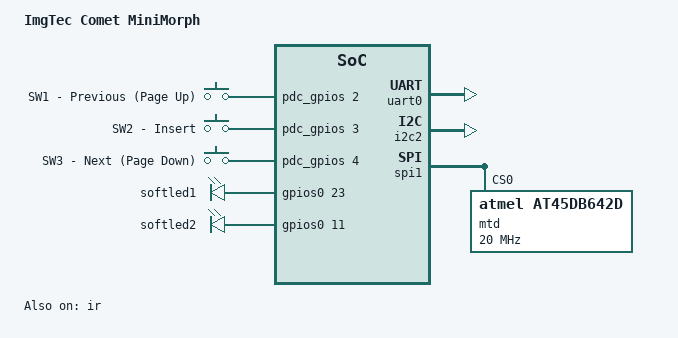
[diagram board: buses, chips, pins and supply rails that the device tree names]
/*
 * Copyright (C) 2012 Imagination Technologies Ltd.
 *
 * This program is free software; you can redistribute it and/or modify
 * it under the terms of the GNU General Public License version 2 as
 * published by the Free Software Foundation.
 */
/dts-v1/;

/include/ "tz1090.dtsi"

&xtal2 {
	clock-frequency = <12000000>;
};

&xtal3 {
	clock-frequency = <32768>;
};

&pinctrl {
	pinctrl-names = "default";
	pinctrl-0 = <	&pinctrl_spi1_cs0
			&pinctrl_tft
			&pinctrl_sdh>;
};

&pdc_pinctrl {
	pinctrl-names = "default";
	pinctrl-0 = <	&keys_pulldown>;

	keys_pulldown: keys-pulldown {
		keys {
			pins =	"sys_wake0",
				"sys_wake1",
				"sys_wake2";
			pull-down;
		};
	};
};

&uart0 {
	status = "okay";
};

&ir {
	status = "okay";
};

&i2c2 {
	bit-rate = <100000>;	/* limit for HDMI */
	status = "okay";
};

/ {
	model = "ImgTec Comet MiniMorph";
	compatible =	"img,tz1090-01tt", "img,tz1090-01sp",
			"toumaz,tz1090", "img,meta";

	gpio_keys {
		compatible = "gpio-keys";
		#address-cells = <1>;
		#size-cells = <0>;
		button@0 {
			label = "SW1 - Previous (Page Up)";
			gpios = <&pdc_gpios 2 0>; /* syswake0 */
			gpio-key,wakeup;
			linux,code = <104>; /* Page Up */
		};
		button@1 {
			label = "SW2 - Insert";
			gpios = <&pdc_gpios 3 0>; /* syswake1 */
			gpio-key,wakeup;
			linux,code = <110>; /* Insert */
		};
		button@2 {
			label = "SW3 - Next (Page Down)";
			gpios = <&pdc_gpios 4 0>; /* syswake2 */
			gpio-key,wakeup;
			linux,code = <109>; /* Page Down */
		};
	};

	leds {
		compatible = "gpio-leds";
		pinctrl-names = "default";
		pinctrl-0 = <>;
		softled1 {
			label = "softled1";
			gpios = <&gpios0 23 0>;		/* uart0_rts */
			linux,default-trigger = "mmc0";
		};
		softled2 {
			label = "softled2";
			gpios = <&gpios0 11 0>;		/* spi0_cs2 */
			linux,default-trigger = "heartbeat";
		};
	};
};

&spi1 {
	status = "okay";

	mtd@0 {
		compatible = "atmel,at45db642d", "atmel,at45", "atmel,dataflash";
		spi-max-frequency = <20000000>;
		reg = <0>; /* chip select */
	};
};
